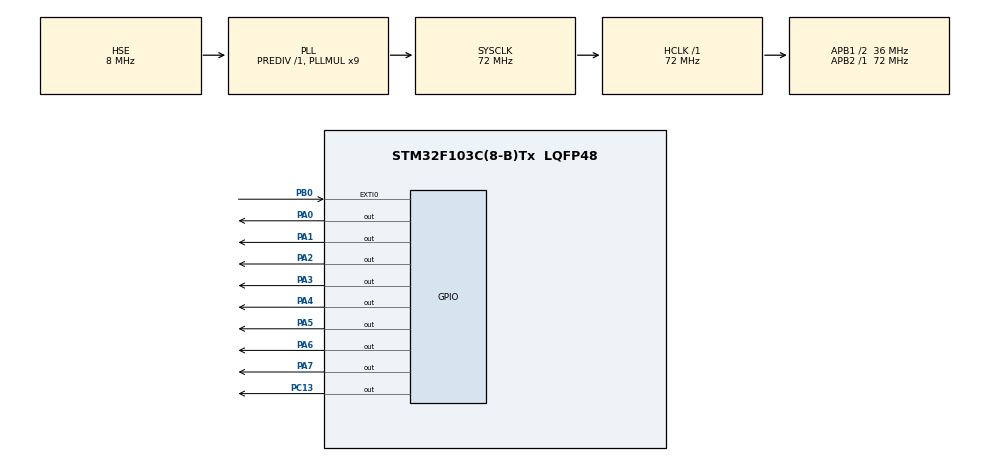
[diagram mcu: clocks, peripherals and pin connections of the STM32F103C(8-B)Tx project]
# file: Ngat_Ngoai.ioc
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Mcu.Family=STM32F1
Mcu.Name=STM32F103C(8-B)Tx
Mcu.Package=LQFP48
NVIC.EXTI0_IRQn=true\:0\:0\:false\:false\:true\:true\:true\:true
NVIC.PriorityGroup=NVIC_PRIORITYGROUP_4
PA0-WKUP.Signal=GPIO_Output
PA1.Signal=GPIO_Output
PA13.Mode=Serial_Wire
PA13.Signal=SYS_JTMS-SWDIO
PA14.Mode=Serial_Wire
PA14.Signal=SYS_JTCK-SWCLK
PA2.Signal=GPIO_Output
PA3.Signal=GPIO_Output
PA4.Signal=GPIO_Output
PA5.Signal=GPIO_Output
PA6.Signal=GPIO_Output
PA7.Signal=GPIO_Output
PB0.GPIO_ModeDefaultEXTI=GPIO_MODE_IT_FALLING
PB0.GPIO_PuPd=GPIO_PULLUP
PB0.Signal=GPXTI0
PC13-TAMPER-RTC.Signal=GPIO_Output
PD0-OSC_IN.Mode=HSE-External-Oscillator
PD0-OSC_IN.Signal=RCC_OSC_IN
PD1-OSC_OUT.Mode=HSE-External-Oscillator
PD1-OSC_OUT.Signal=RCC_OSC_OUT
ProjectManager.HeapSize=0x200
ProjectManager.StackSize=0x400
ProjectManager.TargetToolchain=MDK-ARM V5.32
RCC.AHBFreq_Value=72000000
RCC.APB1CLKDivider=RCC_HCLK_DIV2
RCC.APB1Freq_Value=36000000
RCC.APB1TimFreq_Value=72000000
RCC.APB2Freq_Value=72000000
RCC.APB2TimFreq_Value=72000000
RCC.HCLKFreq_Value=72000000
RCC.PLLMUL=RCC_PLL_MUL9
RCC.PLLSourceVirtual=RCC_PLLSOURCE_HSE
RCC.SYSCLKFreq_VALUE=72000000
RCC.SYSCLKSource=RCC_SYSCLKSOURCE_PLLCLK
RCC.USBFreq_Value=72000000
board=custom

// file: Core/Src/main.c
/* USER CODE BEGIN Header */
/**
  ******************************************************************************
  * @file           : main.c
  * @brief          : Main program body
  ******************************************************************************
  * @attention
  *
  * Copyright (c) 2023 STMicroelectronics.
  * All rights reserved.
  *
  * This software is licensed under terms that can be found in the LICENSE file
  * in the root directory of this software component.
  * If no LICENSE file comes with this software, it is provided AS-IS.
  *
  ******************************************************************************
  */
/* USER CODE END Header */
#include "main.h"

void SystemClock_Config(void);
static void MX_GPIO_Init(void);
/* USER CODE BEGIN PFP */

#define MAX_EFFECT 3
uint8_t index_effect = 0;
uint8_t num = 0;
uint8_t flag;

/* USER CODE END PFP */

/* USER CODE BEGIN 0 */

uint8_t delay_ms(uint16_t ms)		// chia nho delay
{
	for (uint16_t i=0; i<ms; i++)
	{
		HAL_Delay(1);
		if (flag ==1)
		{
			flag =0;
			return 1;
		}
	}
	return 0;
}

void nhapNhay()
{
//	for (uint8_t i=0; i<8; i++)	// cach 1
//	{
//		GPIOA -> ODR |= (1<<i);
//	}
//	HAL_Delay(500);
//	for (uint8_t i=0; i<8; i++)
//	{
//		GPIOA -> ODR &= ~(1<<i);
//	}
//	HAL_Delay(500);

	GPIOA -> ODR |= 0x00FF; // cach 2
	if (delay_ms(500) == 1)
	{
		return;
	}
	GPIOA -> ODR &= ~0x00FF;
	if (delay_ms(500) == 1)
	{
		return;
	}
}
void sangDan()
{
	for (uint8_t i=0; i<8; i++)
	{
		GPIOA -> ODR |= (1<<i);
		if (delay_ms(500) == 1)
		{
			return;
		}
	}
	for (uint8_t i=0; i<8; i++)
	{
		GPIOA -> ODR &= ~(1<<i);
		if (delay_ms(500) == 1)
		{
			return;
		}
	}
}
void sangXenKe()
{
	for (uint8_t i=0; i<8; i++)		// cach 1
	{
		if(i% 2==0)
		{
			GPIOA -> ODR |= (1<<i);
		}
		else GPIOA ->ODR &=~ (1<<i);
	}
	if (delay_ms(500) == 1)
	{
		return;
	}
	for (uint8_t i=0; i<8; i++)
	{
		if(i% 2!=0)
		{
			GPIOA -> ODR |= (1<<i);
		}
		else GPIOA ->ODR &=~ (1<<i);
	}
	if (delay_ms(500) == 1)
	{
		return;
	}

//	GPIOA -> ODR |= 0x55;	//cach 2
//	GPIOA -> ODR &= ~0xAA;
//	HAL_Delay(500);
}

void HAL_GPIO_EXTI_Callback(uint16_t GPIO_Pin)
{
	if(GPIO_Pin == GPIO_PIN_0)
	{
		flag =1;
		index_effect ++;
		num =0;
		if(index_effect >= MAX_EFFECT)
		{
			index_effect =0;
		}
	}
}

/* USER CODE END 0 */

int main(void)
{

  /* MCU Configuration--------------------------------------------------------*/

  /* Reset of all peripherals, Initializes the Flash interface and the Systick. */
  HAL_Init();

  /* Configure the system clock */
  SystemClock_Config();

  /* Initialize all configured peripherals */
  MX_GPIO_Init();

  /* Infinite loop */
  while (1)
  {

    /* USER CODE BEGIN 3 */
		switch(index_effect)
		{
			case 0:
				nhapNhay();
				break;
			case 1:
				sangDan();
				break;
			case 2:
				sangXenKe();
				break;
		}
		num++;
		if(num ==5)
		{
			index_effect ++;
			if(index_effect >= MAX_EFFECT)
			{
				index_effect =0;
			}
			num =0;
		}
  }
  /* USER CODE END 3 */
}

void SystemClock_Config(void)
{
  RCC_OscInitTypeDef RCC_OscInitStruct = {0};
  RCC_ClkInitTypeDef RCC_ClkInitStruct = {0};

  /** Initializes the RCC Oscillators according to the specified parameters
  * in the RCC_OscInitTypeDef structure.
  */
  RCC_OscInitStruct.OscillatorType = RCC_OSCILLATORTYPE_HSE;
  RCC_OscInitStruct.HSEState = RCC_HSE_ON;
  RCC_OscInitStruct.HSEPredivValue = RCC_HSE_PREDIV_DIV1;
  RCC_OscInitStruct.HSIState = RCC_HSI_ON;
  RCC_OscInitStruct.PLL.PLLState = RCC_PLL_ON;
  RCC_OscInitStruct.PLL.PLLSource = RCC_PLLSOURCE_HSE;
  RCC_OscInitStruct.PLL.PLLMUL = RCC_PLL_MUL9;
  if (HAL_RCC_OscConfig(&RCC_OscInitStruct) != HAL_OK)
  {
    Error_Handler();
  }

  /** Initializes the CPU, AHB and APB buses clocks
  */
  RCC_ClkInitStruct.ClockType = RCC_CLOCKTYPE_HCLK|RCC_CLOCKTYPE_SYSCLK
                              |RCC_CLOCKTYPE_PCLK1|RCC_CLOCKTYPE_PCLK2;
  RCC_ClkInitStruct.SYSCLKSource = RCC_SYSCLKSOURCE_PLLCLK;
  RCC_ClkInitStruct.AHBCLKDivider = RCC_SYSCLK_DIV1;
  RCC_ClkInitStruct.APB1CLKDivider = RCC_HCLK_DIV2;
  RCC_ClkInitStruct.APB2CLKDivider = RCC_HCLK_DIV1;

  if (HAL_RCC_ClockConfig(&RCC_ClkInitStruct, FLASH_LATENCY_2) != HAL_OK)
  {
    Error_Handler();
  }
}

static void MX_GPIO_Init(void)
{
  GPIO_InitTypeDef GPIO_InitStruct = {0};

  /* GPIO Ports Clock Enable */
  __HAL_RCC_GPIOC_CLK_ENABLE();
  __HAL_RCC_GPIOD_CLK_ENABLE();
  __HAL_RCC_GPIOA_CLK_ENABLE();
  __HAL_RCC_GPIOB_CLK_ENABLE();

  /*Configure GPIO pin Output Level */
  HAL_GPIO_WritePin(GPIOC, GPIO_PIN_13, GPIO_PIN_RESET);

  /*Configure GPIO pin Output Level */
  HAL_GPIO_WritePin(GPIOA, GPIO_PIN_0|GPIO_PIN_1|GPIO_PIN_2|GPIO_PIN_3
                          |GPIO_PIN_4|GPIO_PIN_5|GPIO_PIN_6|GPIO_PIN_7, GPIO_PIN_RESET);

  /*Configure GPIO pin : PC13 */
  GPIO_InitStruct.Pin = GPIO_PIN_13;
  GPIO_InitStruct.Mode = GPIO_MODE_OUTPUT_PP;
  GPIO_InitStruct.Pull = GPIO_NOPULL;
  GPIO_InitStruct.Speed = GPIO_SPEED_FREQ_LOW;
  HAL_GPIO_Init(GPIOC, &GPIO_InitStruct);

  /*Configure GPIO pins : PA0 PA1 PA2 PA3
                           PA4 PA5 PA6 PA7 */
  GPIO_InitStruct.Pin = GPIO_PIN_0|GPIO_PIN_1|GPIO_PIN_2|GPIO_PIN_3
                          |GPIO_PIN_4|GPIO_PIN_5|GPIO_PIN_6|GPIO_PIN_7;
  GPIO_InitStruct.Mode = GPIO_MODE_OUTPUT_PP;
  GPIO_InitStruct.Pull = GPIO_NOPULL;
  GPIO_InitStruct.Speed = GPIO_SPEED_FREQ_LOW;
  HAL_GPIO_Init(GPIOA, &GPIO_InitStruct);

  /*Configure GPIO pin : PB0 */
  GPIO_InitStruct.Pin = GPIO_PIN_0;
  GPIO_InitStruct.Mode = GPIO_MODE_IT_FALLING;
  GPIO_InitStruct.Pull = GPIO_PULLUP;
  HAL_GPIO_Init(GPIOB, &GPIO_InitStruct);

  /* EXTI interrupt init*/
  HAL_NVIC_SetPriority(EXTI0_IRQn, 0, 0);
  HAL_NVIC_EnableIRQ(EXTI0_IRQn);

}

void Error_Handler(void)
{
  __disable_irq();
  while (1)
  {
  }
}
